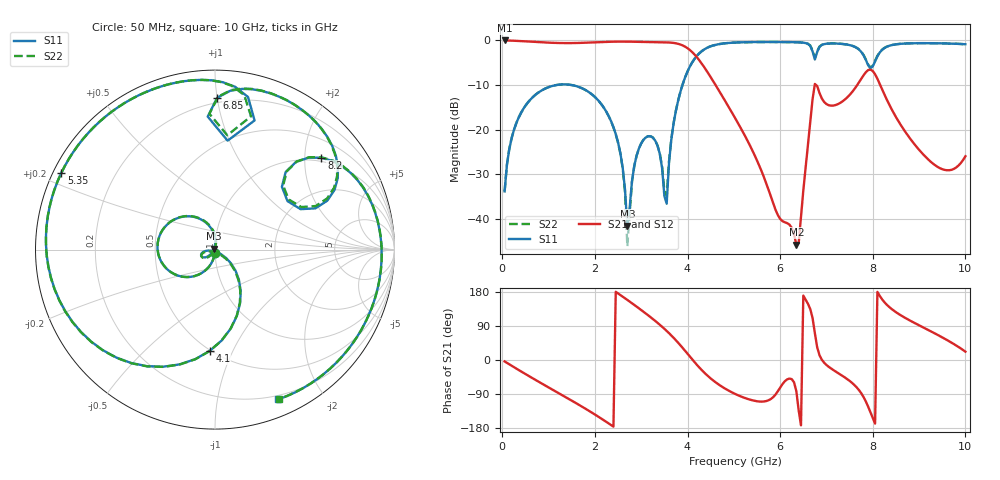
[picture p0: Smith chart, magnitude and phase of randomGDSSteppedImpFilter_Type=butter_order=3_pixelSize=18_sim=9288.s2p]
! freq	dB(S11)	phase(S11)	dB(S12)	phase(S12)
!  dB(S21)	phase(S21)	dB(S22)	phase(S22)
!S-par simulation data
#  GHz  S  DB  R 50
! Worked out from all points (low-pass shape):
!   200 points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, 50 MHz to 10 GHz, reference 50 ohm
!   highest |S21| = -0.01 dB at 50 MHz (marker M1); lowest = -45.8 dB at 6.35 GHz (marker M2)
!   |S21| within 3 dB of the highest: start of sweep to 4.136 GHz
!   lowest |S11| = -41.6 dB at 2.7 GHz (marker M3), VSWR 1.02, Z = 49.4 + j0.606 ohm
!   |S11| at or under -10 dB: start of sweep to 1.178 GHz; 1.487 GHz to 3.891 GHz (2.404 GHz wide, 89.4 % of centre)
!   |S22| runs from -46.2 to -0.4 dB; largest |S21 - S12| = 0
!   S11 on the Smith chart (normalised r, x): 50 MHz: 1.00, -0.04; 4.1 GHz: 0.49, -0.82; 5.35 GHz: 0.02, +0.24; 6.85 GHz: 0.17, +1.00; 8.2 GHz: 0.90, +2.39; 10 GHz: 0.16, -1.50
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0.05  -33.89 -93.5  -0.01 -3.8  -0.01 -3.8  -33.89 -93.5
0.2  -22.00 -105.1  -0.05 -15.0  -0.05 -15.0  -22.00 -105.1
0.55  -13.96 -131.0  -0.24 -40.7  -0.24 -40.7  -13.96 -131.1
1.75  -10.88 145.1  -0.54 -125.1  -0.54 -125.1  -10.88 144.7
2.45  -21.02 94.0  -0.28 180.0  -0.28 180.0  -21.06 91.6
2.6  -28.56 87.5  -0.27 167.2  -0.27 167.2  -28.71 81.2
2.7  -41.62 132.4  -0.27 158.6  -0.27 158.6  -46.18 114.2
2.95  -24.25 -138.4  -0.32 136.4  -0.32 136.4  -24.26 -134.0
3.4  -25.41 -171.9  -0.40 93.2  -0.40 93.2  -25.30 -167.0
3.55  -36.64 -61.9  -0.44 76.7  -0.44 76.7  -34.82 -70.9
3.7  -18.56 -40.7  -0.56 58.5  -0.56 58.5  -18.51 -42.5
4.1  -4.94 -93.1  -2.62 1.7  -2.62 1.7  -4.94 -93.1
5.05  -0.47 171.8  -17.83 -90.8  -17.83 -90.8  -0.47 172.2
5.35  -0.38 153.5  -23.63 -104.7  -23.63 -104.7  -0.38 154.0
6.35  -0.41 100.2  -45.81 -82.7  -45.81 -82.7  -0.40 101.0
6.7  -2.47 73.0  -13.18 110.8  -13.18 110.8  -2.28 74.9
6.85  -1.45 89.2  -11.82 12.5  -11.82 12.5  -1.38 88.8
7.85  -4.37 22.3  -7.14 -109.4  -7.14 -109.4  -4.27 23.4
8.2  -2.12 40.8  -10.93 160.3  -10.93 160.3  -2.09 40.8
8.35  -1.23 29.4  -14.28 140.5  -14.28 140.5  -1.21 29.6
9.35  -0.63 -29.2  -28.04 69.6  -28.04 69.6  -0.63 -28.8
10  -0.86 -67.0  -26.00 22.1  -26.00 22.1  -0.86 -66.7
